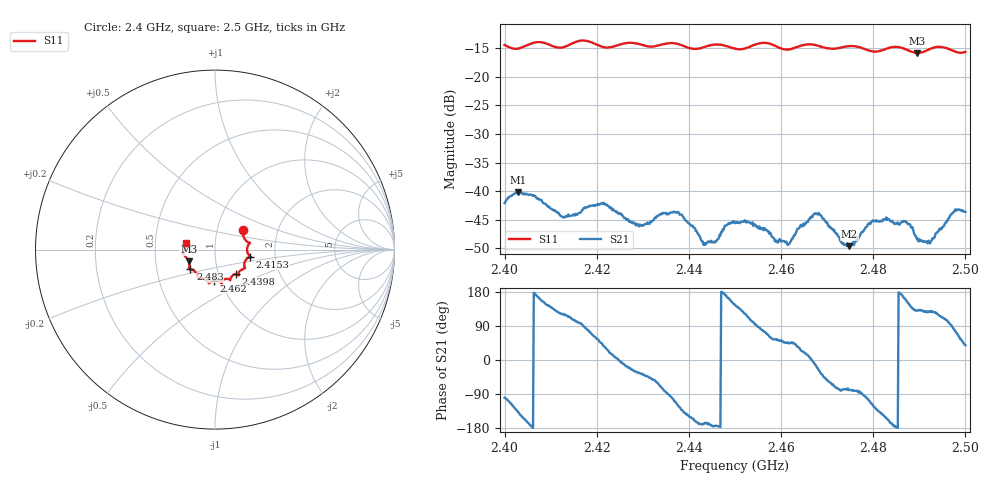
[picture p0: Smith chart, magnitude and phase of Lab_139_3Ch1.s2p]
# Hz S RI R
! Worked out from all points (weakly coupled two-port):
!   601 points, 2.4 GHz to 2.5 GHz, reference 50 ohm
!   highest |S21| = -40.16 dB at 2.403 GHz (marker M1); lowest = -49.6 dB at 2.4748 GHz (marker M2)
!   lowest |S11| = -15.9 dB at 2.4895 GHz (marker M3), VSWR 1.38, Z = 36.9 - j5.02 ohm
!   |S11| at or under -10 dB: start of sweep to end of sweep
!   S12 and S22 are empty: the file has one direction only
!   S11 on the Smith chart (normalised r, x): 2.4 GHz: 1.33, +0.29; 2.4153 GHz: 1.48, -0.12; 2.4398 GHz: 1.21, -0.34; 2.462 GHz: 0.93, -0.33; 2.483 GHz: 0.74, -0.17; 2.5 GHz: 0.72, +0.06
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2.4e9  0.1554 0.1068  -0.00131 -0.00776  0 0  0 0
2.403e9  0.1652 0.0597  -0.00731 -0.00655  0 0  0 0
2.415333e9  0.1961 -0.0388  -0.00146 0.00617  0 0  0 0
2.416667e9  0.2018 -0.0427  -0.000616 0.00663  0 0  0 0
2.421333e9  0.1721 -0.0566  0.00601 0.00484  0 0  0 0
2.4295e9  0.1576 -0.1075  0.00406 -0.00293  0 0  0 0
2.433333e9  0.1311 -0.1334  0.00287 -0.00537  0 0  0 0
2.437167e9  0.1318 -0.1429  -0.0024 -0.00601  0 0  0 0
2.439833e9  0.1154 -0.1363  -0.00439 -0.00295  0 0  0 0
2.4435e9  0.0875 -0.1594  -0.00329 -0.000845  0 0  0 0
2.45e9  0.0647 -0.1628  -0.00428 0.00303  0 0  0 0
2.462e9  -0.00508 -0.1733  0.00252 0.00256  0 0  0 0
2.466667e9  -0.0343 -0.1876  0.00605 2.2e-05  0 0  0 0
2.474833e9  -0.0916 -0.16  0.000619 -0.00325  0 0  0 0
2.4795e9  -0.1063 -0.1286  -0.00218 -0.00482  0 0  0 0
2.483e9  -0.1374 -0.1098  -0.00507 -0.00237  0 0  0 0
2.483333e9  -0.1399 -0.1095  -0.00531 -0.00207  0 0  0 0
2.4875e9  -0.1428 -0.0923  -0.00451 0.00249  0 0  0 0
2.4895e9  -0.1463 -0.0662  -0.00242 0.00291  0 0  0 0
2.492167e9  -0.1698 -0.0334  -0.00222 0.00279  0 0  0 0
2.497333e9  -0.1675 -0.00287  0.000706 0.00648  0 0  0 0
2.5e9  -0.1599 0.0391  0.00511 0.00414  0 0  0 0
